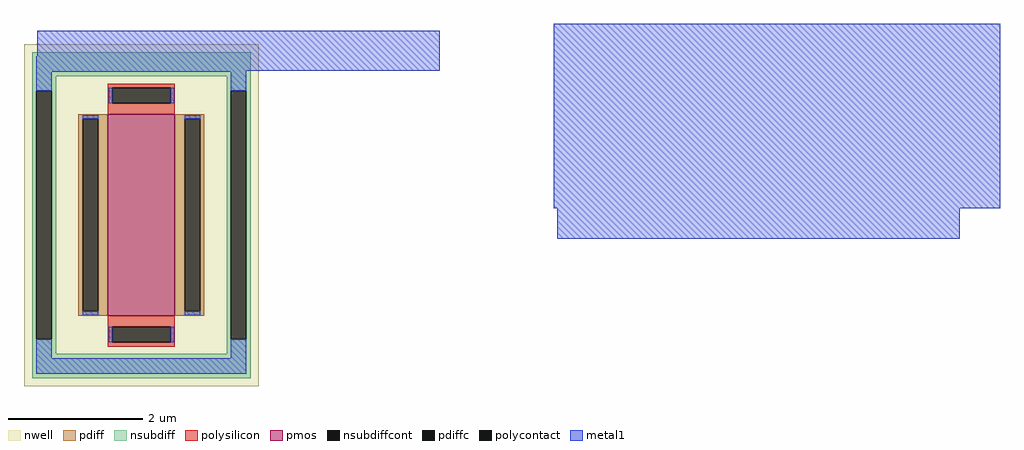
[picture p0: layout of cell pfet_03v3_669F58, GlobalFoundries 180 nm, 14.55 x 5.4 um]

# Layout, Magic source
magic
tech gf180mcuD
magscale 1 10
<< nwell >>
rect -350 -510 350 510
<< pmos >>
rect -100 -300 100 300
<< pdiff >>
rect -188 287 -100 300
rect -188 -287 -175 287
rect -129 -287 -100 287
rect -188 -300 -100 -287
rect 100 287 188 300
rect 100 -287 129 287
rect 175 -287 188 287
rect 100 -300 188 -287
<< pdiffc >>
rect -175 -287 -129 287
rect 129 -287 175 287
<< nsubdiff >>
rect -326 414 326 486
rect -326 370 -254 414
rect -326 -370 -313 370
rect -267 -370 -254 370
rect 254 370 326 414
rect -326 -414 -254 -370
rect 254 -370 267 370
rect 313 -370 326 370
rect 254 -414 326 -370
rect -326 -486 326 -414
<< nsubdiffcont >>
rect -313 -370 -267 370
rect 267 -370 313 370
<< polysilicon >>
rect -100 379 100 392
rect -100 333 -87 379
rect 87 333 100 379
rect -100 300 100 333
rect -100 -333 100 -300
rect -100 -379 -87 -333
rect 87 -379 100 -333
rect -100 -392 100 -379
<< polycontact >>
rect -87 333 87 379
rect -87 -379 87 -333
<< metal1 >>
rect -310 473 890 550
rect -313 430 890 473
rect -313 427 313 430
rect -313 370 -267 427
rect -98 333 -87 379
rect 87 333 98 379
rect 267 370 313 427
rect -175 287 -129 298
rect -175 -298 -129 -287
rect 129 287 175 298
rect 129 -298 175 -287
rect -313 -427 -267 -370
rect -98 -379 -87 -333
rect 87 -379 98 -333
rect 1230 20 2560 570
rect 1240 -70 2440 20
rect 267 -427 313 -370
rect -313 -473 313 -427
<< properties >>
string FIXED_BBOX -290 -450 290 450
string gencell pfet_03v3
string library gf180mcu
string parameters w 3.0 l 1.0 m 1 nf 1 diffcov 100 polycov 100 guard 1 glc 1 grc 1 gtc 0 gbc 0 tbcov 100 rlcov 100 topc 1 botc 1 poverlap 0 doverlap 1 lmin 0.28 wmin 0.22 class mosfet full_metal 1 compatible {pfet_03v3 pfet_06v0} ad {int((nf+1)/2) * W/nf * 0.18u} as {int((nf+2)/2) * W/nf * 0.18u} pd {2*int((nf+1)/2) * (W/nf + 0.18u)} ps {2*int((nf+2)/2) * (W/nf + 0.18u)} nrd {0.18u / W} nrs {0.18u / W} sa 0 sb 0 sd 0
<< end >>
